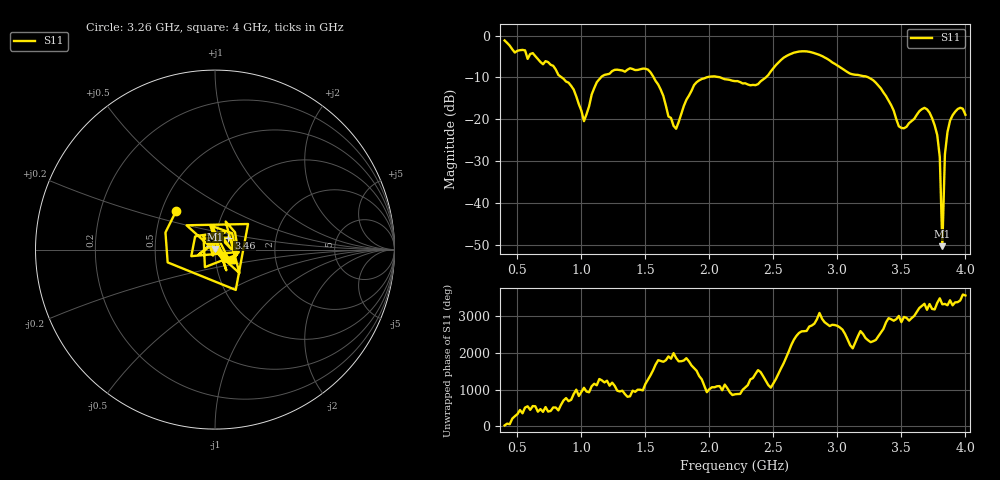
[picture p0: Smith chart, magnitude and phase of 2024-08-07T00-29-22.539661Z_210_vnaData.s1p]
!Created with skrf (http://scikit-rf.org).
# Hz S RI R 50.0
!freq ReS11 ImS11
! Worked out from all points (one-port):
!   181 points, 400 MHz to 4 GHz, reference 50 ohm
!   lowest |S11| = -50.3 dB at 3.82 GHz (marker M1), VSWR 1.01, Z = 50 + j0.305 ohm
!   |S11| at or under -10 dB: 1.564 GHz to 1.978 GHz (413.7 MHz wide, 23.4 % of centre); 2.084 GHz to 2.441 GHz (357.4 MHz wide, 15.8 % of centre); 3.242 GHz to end of sweep (the widest 3 of 4)
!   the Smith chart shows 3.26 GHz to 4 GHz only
!   S11 on the Smith chart (normalised r, x): 3.26 GHz: 0.59, +0.28; 3.46 GHz: 1.15, +0.15; 4 GHz: 1.21, -0.14
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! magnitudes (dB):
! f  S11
! 400 MHz  -1.2
! 860 MHz  -10.3
! 940 MHz  -12.9
! 1.02 GHz  -20.5
! 1.12 GHz  -11.2
! 1.3 GHz  -8.3
! 1.52 GHz  -8.1
! 1.62 GHz  -13.0
! 1.72 GHz  -21.6
! 1.76 GHz  -20.7
! 1.9 GHz  -11.2
! 2.2 GHz  -10.9
! 2.38 GHz  -11.6
! 2.66 GHz  -4.1
! 2.86 GHz  -4.6
! 3.1 GHz  -9.1
! 3.26 GHz  -10.3
! 3.46 GHz  -20.0
! 3.5 GHz  -22.1
! 3.56 GHz  -20.9
! 3.68 GHz  -17.3
! 3.76 GHz  -21.5
! 3.8 GHz  -29.0
! 3.82 GHz  -50.3
! 3.84 GHz  -28.4
! 3.86 GHz  -23.1
! 3.94 GHz  -17.6
! 4 GHz  -18.9
